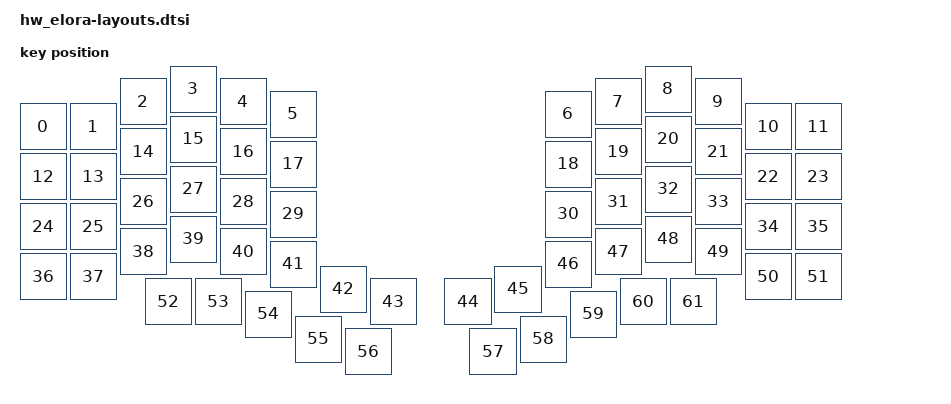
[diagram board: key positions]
#include <physical_layouts.dtsi>

/ {
    physical_layout0: physical_layout_0 {
        compatible = "zmk,physical-layout";
        display-name = "elora";

        kscan = <&kscan0>;
        transform = <&default_transform>;

        keys  //                     w   h    x    y     rot    rx    ry
            = <&key_physical_attrs 100 100    0   75       0     0     0>
            , <&key_physical_attrs 100 100  100   75       0     0     0>
            , <&key_physical_attrs 100 100  200   25       0     0     0>
            , <&key_physical_attrs 100 100  300    0       0     0     0>
            , <&key_physical_attrs 100 100  400   25       0     0     0>
            , <&key_physical_attrs 100 100  500   50       0     0     0>
            , <&key_physical_attrs 100 100 1050   50       0     0     0>
            , <&key_physical_attrs 100 100 1150   25       0     0     0>
            , <&key_physical_attrs 100 100 1250    0       0     0     0>
            , <&key_physical_attrs 100 100 1350   25       0     0     0>
            , <&key_physical_attrs 100 100 1450   75       0     0     0>
            , <&key_physical_attrs 100 100 1550   75       0     0     0>
            , <&key_physical_attrs 100 100    0  175       0     0     0>
            , <&key_physical_attrs 100 100  100  175       0     0     0>
            , <&key_physical_attrs 100 100  200  125       0     0     0>
            , <&key_physical_attrs 100 100  300  100       0     0     0>
            , <&key_physical_attrs 100 100  400  125       0     0     0>
            , <&key_physical_attrs 100 100  500  150       0     0     0>
            , <&key_physical_attrs 100 100 1050  150       0     0     0>
            , <&key_physical_attrs 100 100 1150  125       0     0     0>
            , <&key_physical_attrs 100 100 1250  100       0     0     0>
            , <&key_physical_attrs 100 100 1350  125       0     0     0>
            , <&key_physical_attrs 100 100 1450  175       0     0     0>
            , <&key_physical_attrs 100 100 1550  175       0     0     0>
            , <&key_physical_attrs 100 100    0  275       0     0     0>
            , <&key_physical_attrs 100 100  100  275       0     0     0>
            , <&key_physical_attrs 100 100  200  225       0     0     0>
            , <&key_physical_attrs 100 100  300  200       0     0     0>
            , <&key_physical_attrs 100 100  400  225       0     0     0>
            , <&key_physical_attrs 100 100  500  250       0     0     0>
            , <&key_physical_attrs 100 100 1050  250       0     0     0>
            , <&key_physical_attrs 100 100 1150  225       0     0     0>
            , <&key_physical_attrs 100 100 1250  200       0     0     0>
            , <&key_physical_attrs 100 100 1350  225       0     0     0>
            , <&key_physical_attrs 100 100 1450  275       0     0     0>
            , <&key_physical_attrs 100 100 1550  275       0     0     0>
            , <&key_physical_attrs 100 100    0  375       0     0     0>
            , <&key_physical_attrs 100 100  100  375       0     0     0>
            , <&key_physical_attrs 100 100  200  325       0     0     0>
            , <&key_physical_attrs 100 100  300  300       0     0     0>
            , <&key_physical_attrs 100 100  400  325       0     0     0>
            , <&key_physical_attrs 100 100  500  350       0     0     0>
            , <&key_physical_attrs 100 100  600  400       0     0     0>
            , <&key_physical_attrs 100 100  700  425       0     0     0>
            , <&key_physical_attrs 100 100  850  425       0     0     0>
            , <&key_physical_attrs 100 100  950  400       0     0     0>
            , <&key_physical_attrs 100 100 1050  350       0     0     0>
            , <&key_physical_attrs 100 100 1150  325       0     0     0>
            , <&key_physical_attrs 100 100 1250  300       0     0     0>
            , <&key_physical_attrs 100 100 1350  325       0     0     0>
            , <&key_physical_attrs 100 100 1450  375       0     0     0>
            , <&key_physical_attrs 100 100 1550  375       0     0     0>
            , <&key_physical_attrs 100 100  250  425       0     0     0>
            , <&key_physical_attrs 100 100  350  425       0     0     0>
            , <&key_physical_attrs 100 100  450  450       0     0     0>
            , <&key_physical_attrs 100 100  550  500       0     0     0>
            , <&key_physical_attrs 100 100  650  525       0     0     0>
            , <&key_physical_attrs 100 100  900  525       0     0     0>
            , <&key_physical_attrs 100 100 1000  500       0     0     0>
            , <&key_physical_attrs 100 100 1100  450       0     0     0>
            , <&key_physical_attrs 100 100 1200  425       0     0     0>
            , <&key_physical_attrs 100 100 1300  425       0     0     0>
            ;
    };
};
